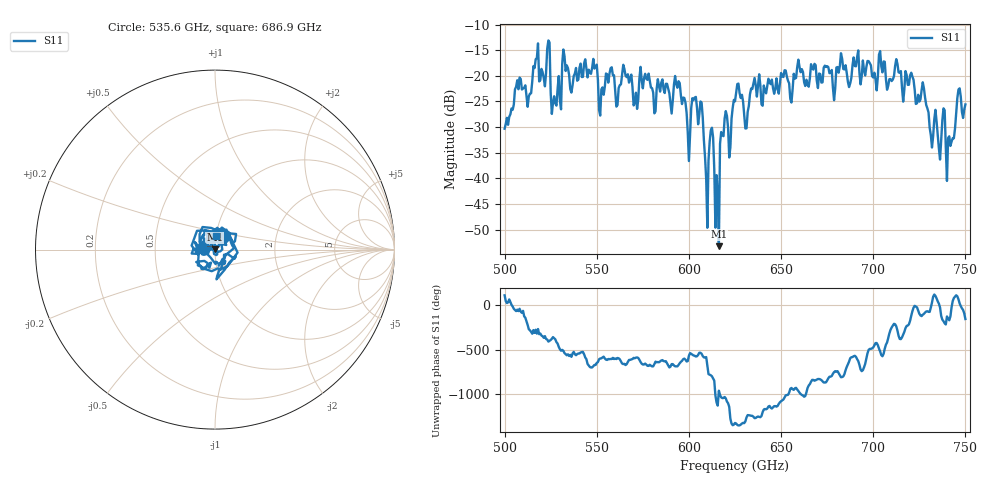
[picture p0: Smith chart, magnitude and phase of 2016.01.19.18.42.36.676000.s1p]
!Created with skrf (http://scikit-rf.org).
# GHz S RI R 50.0
!freq ReS11 ImS11
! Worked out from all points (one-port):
!   401 points, 500 GHz to 750 GHz, reference 50 ohm
!   lowest |S11| = -53.2 dB at 616.2 GHz (marker M1), VSWR 1.00, Z = 49.9 + j0.184 ohm
!   |S11| at or under -10 dB: start of sweep to end of sweep
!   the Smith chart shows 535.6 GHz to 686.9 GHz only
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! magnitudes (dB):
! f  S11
! 500 GHz  -30.3
! 507.5 GHz  -22.6
! 513.1 GHz  -24.0
! 516.9 GHz  -16.7
! 523.8 GHz  -13.1
! 526.9 GHz  -24.0
! 531.2 GHz  -17.7
! 562.5 GHz  -21.8
! 593.8 GHz  -22.3
! 599.4 GHz  -31.1
! 602.5 GHz  -24.7
! 606.9 GHz  -25.2
! 609.4 GHz  -40.2
! 612.5 GHz  -30.1
! 615 GHz  -39.4
! 616.2 GHz  -53.2
! 618.8 GHz  -31.8
! 622.5 GHz  -33.9
! 625 GHz  -25.0
! 631.2 GHz  -30.3
! 635 GHz  -21.5
! 656.2 GHz  -22.7
! 660 GHz  -18.2
! 687.5 GHz  -21.5
! 718.8 GHz  -21.8
! 740.6 GHz  -32.1
! 746.2 GHz  -22.7
! 750 GHz  -25.6
